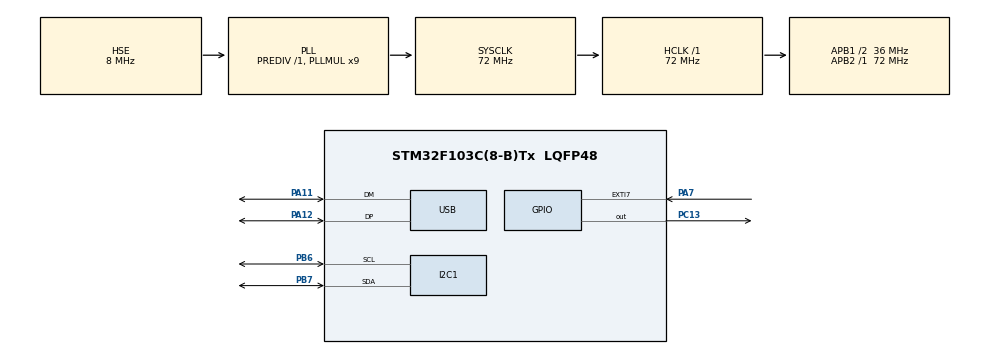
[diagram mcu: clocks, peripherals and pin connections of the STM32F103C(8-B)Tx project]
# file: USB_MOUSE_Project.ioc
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Mcu.Family=STM32F1
Mcu.Name=STM32F103C(8-B)Tx
Mcu.Package=LQFP48
NVIC.EXTI9_5_IRQn=true\:0\:0\:false\:false\:true\:true\:true
NVIC.PriorityGroup=NVIC_PRIORITYGROUP_4
NVIC.USB_LP_CAN1_RX0_IRQn=true\:0\:0\:false\:false\:true\:false\:true
PA11.Mode=Device
PA11.Signal=USB_DM
PA12.Mode=Device
PA12.Signal=USB_DP
PA13.Mode=Serial_Wire
PA13.Signal=SYS_JTMS-SWDIO
PA14.Mode=Serial_Wire
PA14.Signal=SYS_JTCK-SWCLK
PA7.GPIO_ModeDefaultEXTI=GPIO_MODE_IT_FALLING
PA7.GPIO_PuPd=GPIO_PULLDOWN
PA7.Signal=GPXTI7
PB6.Mode=I2C
PB6.Signal=I2C1_SCL
PB7.Mode=I2C
PB7.Signal=I2C1_SDA
PC13-TAMPER-RTC.PinState=GPIO_PIN_SET
PC13-TAMPER-RTC.Signal=GPIO_Output
PD0-OSC_IN.Mode=HSE-External-Oscillator
PD0-OSC_IN.Signal=RCC_OSC_IN
PD1-OSC_OUT.Mode=HSE-External-Oscillator
PD1-OSC_OUT.Signal=RCC_OSC_OUT
ProjectManager.HeapSize=0x200
ProjectManager.StackSize=0x400
ProjectManager.TargetToolchain=STM32CubeIDE
RCC.AHBFreq_Value=72000000
RCC.APB1CLKDivider=RCC_HCLK_DIV2
RCC.APB1Freq_Value=36000000
RCC.APB1TimFreq_Value=72000000
RCC.APB2Freq_Value=72000000
RCC.APB2TimFreq_Value=72000000
RCC.HCLKFreq_Value=72000000
RCC.PLLMUL=RCC_PLL_MUL9
RCC.SYSCLKFreq_VALUE=72000000
RCC.SYSCLKSource=RCC_SYSCLKSOURCE_PLLCLK
RCC.USBFreq_Value=48000000
RCC.USBPrescaler=RCC_USBCLKSOURCE_PLL_DIV1_5
USB_DEVICE.CLASS_NAME_FS=HID
USB_DEVICE.PRODUCT_STRING_HID_FS=STM32 F103 USB
USB_DEVICE.VirtualMode=Hid
USB_DEVICE.VirtualModeFS=Hid_FS
VP_USB_DEVICE_VS_USB_DEVICE_HID_FS.Mode=HID_FS
board=custom

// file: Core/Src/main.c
/* USER CODE BEGIN Header */
/**
  ******************************************************************************
  * @file           : main.c
  * @brief          : Main program body
  ******************************************************************************
  * @attention
  *
  * <h2><center>&copy; Copyright (c) 2022 STMicroelectronics.
  * All rights reserved.</center></h2>
  *
  * This software component is licensed by ST under BSD 3-Clause license,
  * the "License"; You may not use this file except in compliance with the
  * License. You may obtain a copy of the License at:
  *                        opensource.org/licenses/BSD-3-Clause
  *
  ******************************************************************************
  */
/* USER CODE END Header */

#include "main.h"
#include "usb_device.h"

/* USER CODE BEGIN Includes */
#include "usbd_hid.h"
/* USER CODE END Includes */

I2C_HandleTypeDef hi2c1;

void SystemClock_Config(void);
static void MX_GPIO_Init(void);
static void MX_I2C1_Init(void);

/* USER CODE BEGIN 0 */

int16_t min_xval=128;
int16_t max_xval=-128;
int16_t min_yval=128;
int16_t max_yval=-128;

int16_t newxval=0;
int16_t newyval=0;

uint8_t button_flag=0;

extern USBD_HandleTypeDef hUsbDeviceFS;
typedef struct
{
	uint8_t button;
	int8_t mouse_x;
	int8_t mouse_y;
	int8_t wheel;
} mouseHID;

mouseHID mousehid = {0,0,0,0};

#define ADXL_ADDRESS 0x53<<1

uint8_t Rx_Data[6];

int16_t x,y,z;

void Adxl_Write (uint8_t reg, uint8_t value)
{
	uint8_t data[2];
	data[0] = reg;
	data[1] = value;
	HAL_I2C_Master_Transmit (&hi2c1, ADXL_ADDRESS, data, 2, 100);
}

void Adxl_Read (uint8_t reg)
{
	HAL_I2C_Mem_Read (&hi2c1, ADXL_ADDRESS, reg, 1, (uint8_t *)Rx_Data, 6, 100);
}

void Adxl_Init (void)
{
	Adxl_Write (0x31, 0x01);  // data_format range= +- 4g
	Adxl_Write (0x2d, 0x00);  // reset all bits
	Adxl_Write (0x2d, 0x08);  // power_cntl measure and wake up 8hz

}

void Adxl_Calibrate (void)
{
	for (int i=0; i<50; i++)
	{
		Adxl_Read (0x32);
		x = ((Rx_Data[1]<<8)|Rx_Data[0]);
		y = ((Rx_Data[3]<<8)|Rx_Data[2]);
		z = ((Rx_Data[5]<<8)|Rx_Data[4]);
		min_xval = MIN(min_xval, x);
		max_xval = MAX(max_xval, x);
		min_yval = MIN(min_yval, y);
		max_yval = MAX(max_yval, y);
		HAL_Delay (100);
	}

	/* Turn On the LED to show the completion of calibration */
	HAL_GPIO_WritePin(GPIOC, GPIO_PIN_13, 0);
}

void HAL_GPIO_EXTI_Callback(uint16_t GPIO_Pin)
{
	if (GPIO_Pin == GPIO_PIN_7)
	{
		button_flag = 1;
	}
}

/* USER CODE END 0 */

int main(void)
{

  /* MCU Configuration--------------------------------------------------------*/

  /* Reset of all peripherals, Initializes the Flash interface and the Systick. */
	  HAL_Init();

  /* Configure the system clock */
  SystemClock_Config();

  /* Initialize all configured peripherals */
  MX_GPIO_Init();
  MX_I2C1_Init();
  MX_USB_DEVICE_Init();
  /* USER CODE BEGIN 2 */
  Adxl_Init();
  Adxl_Calibrate();
  /* USER CODE END 2 */

  /* Infinite loop */
  while (1)
  {

    /* USER CODE BEGIN 3 */
	  Adxl_Read (0x32);
	  x = ((Rx_Data[1]<<8)|Rx_Data[0]);
	  y = ((Rx_Data[3]<<8)|Rx_Data[2]);
	  z = ((Rx_Data[5]<<8)|Rx_Data[4]);

	  if (x < min_xval)
	   {
	     newxval = x - min_xval;
	   }

	  else if (x > max_xval)
	   {
	     newxval = x - max_xval;
	   }

	  if (y < min_yval)
	  {
	    newyval = y - min_yval;
	  }

	  else if (y > max_yval)
	  {
	   newyval = y - max_yval;
	  }
	  if ((newxval > 20) || (newxval <-20))
	  {
	   mousehid.mouse_y = (newxval/3);
	  }

	  else mousehid.mouse_y = 0;
	  if ((newyval > 20) || (newyval <-20))
	  {
	   mousehid.mouse_x= (newyval)/3;
	  }

	  else mousehid.mouse_x = 0;
	  if (button_flag==1)
	  {
	   mousehid.button = 1;
	   USBD_HID_SendReport(&hUsbDeviceFS, &mousehid, sizeof (mousehid));
	   HAL_Delay (50);
	   mousehid.button = 0;

	   USBD_HID_SendReport(&hUsbDeviceFS,&mousehid, sizeof (mousehid));
	   button_flag =0;
	  }
	  USBD_HID_SendReport(&hUsbDeviceFS, &mousehid, sizeof (mousehid));
	  HAL_Delay(10);

  }
  /* USER CODE END 3 */
}

void SystemClock_Config(void)
{
  RCC_OscInitTypeDef RCC_OscInitStruct = {0};
  RCC_ClkInitTypeDef RCC_ClkInitStruct = {0};
  RCC_PeriphCLKInitTypeDef PeriphClkInit = {0};

  /** Initializes the CPU, AHB and APB busses clocks
  */
  RCC_OscInitStruct.OscillatorType = RCC_OSCILLATORTYPE_HSE;
  RCC_OscInitStruct.HSEState = RCC_HSE_ON;
  RCC_OscInitStruct.HSEPredivValue = RCC_HSE_PREDIV_DIV1;
  RCC_OscInitStruct.HSIState = RCC_HSI_ON;
  RCC_OscInitStruct.PLL.PLLState = RCC_PLL_ON;
  RCC_OscInitStruct.PLL.PLLSource = RCC_PLLSOURCE_HSE;
  RCC_OscInitStruct.PLL.PLLMUL = RCC_PLL_MUL9;
  if (HAL_RCC_OscConfig(&RCC_OscInitStruct) != HAL_OK)
  {
    Error_Handler();
  }
  /** Initializes the CPU, AHB and APB busses clocks
  */
  RCC_ClkInitStruct.ClockType = RCC_CLOCKTYPE_HCLK|RCC_CLOCKTYPE_SYSCLK
                              |RCC_CLOCKTYPE_PCLK1|RCC_CLOCKTYPE_PCLK2;
  RCC_ClkInitStruct.SYSCLKSource = RCC_SYSCLKSOURCE_PLLCLK;
  RCC_ClkInitStruct.AHBCLKDivider = RCC_SYSCLK_DIV1;
  RCC_ClkInitStruct.APB1CLKDivider = RCC_HCLK_DIV2;
  RCC_ClkInitStruct.APB2CLKDivider = RCC_HCLK_DIV1;

  if (HAL_RCC_ClockConfig(&RCC_ClkInitStruct, FLASH_LATENCY_2) != HAL_OK)
  {
    Error_Handler();
  }
  PeriphClkInit.PeriphClockSelection = RCC_PERIPHCLK_USB;
  PeriphClkInit.UsbClockSelection = RCC_USBCLKSOURCE_PLL_DIV1_5;
  if (HAL_RCCEx_PeriphCLKConfig(&PeriphClkInit) != HAL_OK)
  {
    Error_Handler();
  }
}

static void MX_I2C1_Init(void)
{

  hi2c1.Instance = I2C1;
  hi2c1.Init.ClockSpeed = 100000;
  hi2c1.Init.DutyCycle = I2C_DUTYCYCLE_2;
  hi2c1.Init.OwnAddress1 = 0;
  hi2c1.Init.AddressingMode = I2C_ADDRESSINGMODE_7BIT;
  hi2c1.Init.DualAddressMode = I2C_DUALADDRESS_DISABLE;
  hi2c1.Init.OwnAddress2 = 0;
  hi2c1.Init.GeneralCallMode = I2C_GENERALCALL_DISABLE;
  hi2c1.Init.NoStretchMode = I2C_NOSTRETCH_DISABLE;
  if (HAL_I2C_Init(&hi2c1) != HAL_OK)
  {
    Error_Handler();
  }

}

static void MX_GPIO_Init(void)
{
  GPIO_InitTypeDef GPIO_InitStruct = {0};

  /* GPIO Ports Clock Enable */
  __HAL_RCC_GPIOC_CLK_ENABLE();
  __HAL_RCC_GPIOD_CLK_ENABLE();
  __HAL_RCC_GPIOA_CLK_ENABLE();
  __HAL_RCC_GPIOB_CLK_ENABLE();

  /*Configure GPIO pin Output Level */
  HAL_GPIO_WritePin(GPIOC, GPIO_PIN_13, GPIO_PIN_SET);

  /*Configure GPIO pin : PC13 */
  GPIO_InitStruct.Pin = GPIO_PIN_13;
  GPIO_InitStruct.Mode = GPIO_MODE_OUTPUT_PP;
  GPIO_InitStruct.Pull = GPIO_NOPULL;
  GPIO_InitStruct.Speed = GPIO_SPEED_FREQ_LOW;
  HAL_GPIO_Init(GPIOC, &GPIO_InitStruct);

  /*Configure GPIO pin : PA7 */
  GPIO_InitStruct.Pin = GPIO_PIN_7;
  GPIO_InitStruct.Mode = GPIO_MODE_IT_FALLING;
  GPIO_InitStruct.Pull = GPIO_PULLDOWN;
  HAL_GPIO_Init(GPIOA, &GPIO_InitStruct);

  /* EXTI interrupt init*/
  HAL_NVIC_SetPriority(EXTI9_5_IRQn, 0, 0);
  HAL_NVIC_EnableIRQ(EXTI9_5_IRQn);

}

void Error_Handler(void)
{
}
